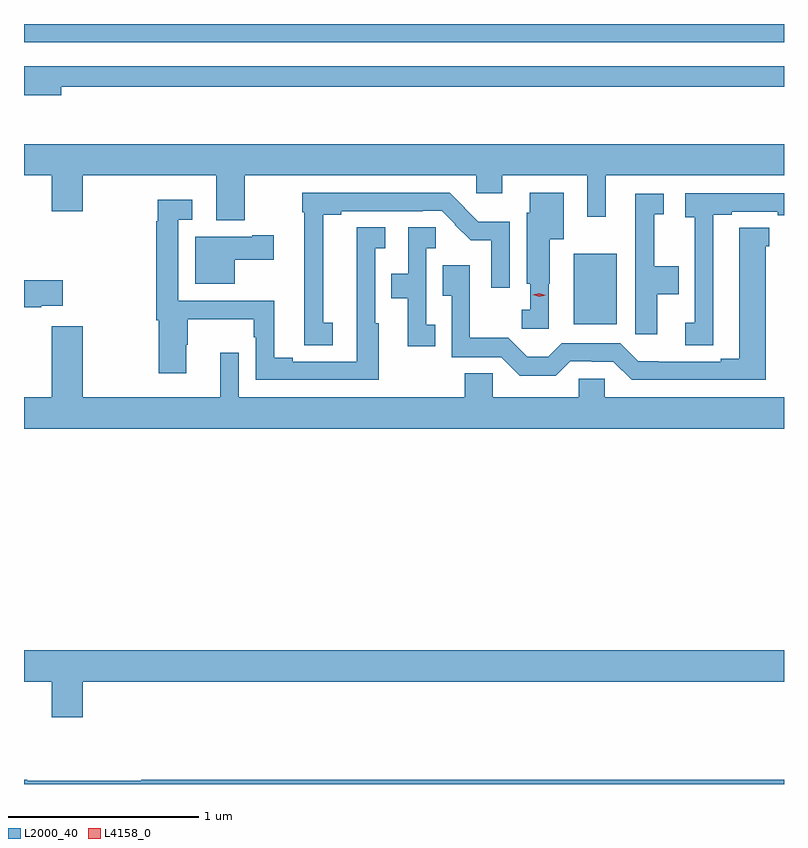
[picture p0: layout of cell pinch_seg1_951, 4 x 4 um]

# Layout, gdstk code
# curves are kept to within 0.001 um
import gdstk
lib = gdstk.Library(unit=1e-6, precision=1e-09)
def R(c, l, rs):  # rectangles x0, y0, x1, y1
    for r in rs: c.add(gdstk.rectangle(r[:2], r[2:], *l))
def P(c, l, *ps):  # polygons
    for p in ps: c.add(gdstk.Polygon(p, *l))
L2000_40 = (2000, 40)
L4158_0 = (4158, 0)

pinch_seg1_951 = lib.new_cell('pinch_seg1_951')
R(pinch_seg1_951, L2000_40, [(335.588,506.993,335.815,507.364), (332.694,508.476,336.694,508.573)])
P(pinch_seg1_951, L2000_40, [(332.89,508.242),(336.694,508.242),(336.694,508.35),(332.694,508.35),(332.694,508.199),(332.89,508.199)],
  [(333.855,507.776),(335.073,507.776),(335.073,507.681),(335.212,507.681),(335.212,507.776),(335.658,507.776),(335.658,507.558),(335.755,507.558),(335.755,507.776),(336.694,507.776),(336.694,507.94),(332.694,507.94),(332.694,507.776),(332.84,507.776),(332.84,507.588),(333.004,507.588),(333.004,507.776),(333.707,507.776),(333.707,507.539),(333.855,507.539)],
  [(335.455,507.207),(335.461,507.207),(335.461,507.44),(335.536,507.44),(335.536,507.685),(335.357,507.685),(335.357,507.579),(335.339,507.579),(335.339,507.207),(335.358,507.207),(335.358,507.07),(335.313,507.07),(335.313,506.97),(335.455,506.97)],
  [(334.318,507),(334.268,507),(334.268,507.568),(334.363,507.568),(334.363,507.588),(334.793,507.588),(334.793,507.591),(334.893,507.591),(334.965,507.519),(334.962,507.516),(335.045,507.434),(335.154,507.434),(335.154,507.186),(335.25,507.186),(335.25,507.532),(335.085,507.532),(335.012,507.605),(335.014,507.607),(334.936,507.684),(334.158,507.684),(334.158,507.581),(334.169,507.581),(334.169,506.881),(334.318,506.881)],
  [(336.321,506.989),(336.322,506.989),(336.322,507.57),(336.418,507.57),(336.418,507.585),(336.662,507.585),(336.662,507.567),(336.694,507.567),(336.694,507.681),(336.174,507.681),(336.174,507.557),(336.225,507.557),(336.225,507),(336.174,507),(336.174,506.881),(336.321,506.881)],
  [(336.028,507.151),(336.14,507.151),(336.14,507.298),(336.011,507.298),(336.011,507.573),(336.061,507.573),(336.061,507.679),(335.912,507.679),(335.912,506.94),(336.028,506.94)],
  [(334.561,506.997),(334.542,506.997),(334.542,507.392),(334.594,507.392),(334.594,507.503),(334.445,507.503),(334.445,507.097),(334.446,507.097),(334.446,506.796),(334.108,506.796),(334.108,506.816),(334.012,506.816),(334.012,507.117),(333.507,507.117),(333.507,507.543),(333.58,507.543),(333.58,507.649),(333.399,507.649),(333.399,507.536),(333.391,507.536),(333.391,507.014),(333.403,507.014),(333.403,506.736),(333.547,506.736),(333.547,506.886),(333.555,506.886),(333.555,507.02),(333.903,507.02),(333.903,506.924),(333.915,506.924),(333.915,506.7),(334.561,506.7)],
  [(334.859,506.99),(334.812,506.99),(334.812,507.392),(334.861,507.392),(334.861,507.503),(334.716,507.503),(334.716,507.259),(334.627,507.259),(334.627,507.13),(334.715,507.13),(334.715,506.877),(334.859,506.877)],
  [(336.598,507.402),(336.616,507.402),(336.616,507.5),(336.459,507.5),(336.458,506.811),(336.362,506.811),(336.362,506.796),(335.927,506.797),(335.832,506.892),(335.523,506.892),(335.452,506.821),(335.342,506.821),(335.242,506.921),(335.04,506.921),(335.04,507.304),(334.897,507.304),(334.897,507.143),(334.944,507.143),(334.944,506.82),(335.205,506.82),(335.302,506.723),(335.492,506.723),(335.568,506.799),(335.681,506.799),(335.681,506.796),(335.796,506.796),(335.892,506.7),(336.598,506.7)],
  [(333.802,507.332),(334.009,507.332),(334.009,507.462),(333.896,507.462),(333.896,507.454),(333.596,507.454),(333.596,507.206),(333.802,507.206)],
  [(332.786,507.089),(332.899,507.089),(332.899,507.224),(332.694,507.224),(332.694,507.082),(332.786,507.082)],
  [(336.694,506.608),(335.751,506.608),(335.751,506.706),(335.613,506.706),(335.613,506.608),(335.16,506.608),(335.16,506.735),(335.014,506.735),(335.014,506.608),(333.825,506.608),(333.825,506.842),(333.728,506.842),(333.728,506.608),(333.004,506.608),(333.004,506.983),(332.84,506.983),(332.84,506.608),(332.694,506.608),(332.694,506.444),(336.694,506.444)],
  [(333.004,505.112),(336.694,505.112),(336.694,505.276),(332.694,505.276),(332.694,505.112),(332.84,505.112),(332.84,504.924),(333.004,504.924)],
  [(336.694,504.596),(333.311,504.596),(333.311,504.589),(332.711,504.589),(332.711,504.596),(332.694,504.596),(332.694,504.573),(336.694,504.573)])
P(pinch_seg1_951, L4158_0, [(335.406,507.138),(335.372,507.149),(335.371,507.149),(335.372,507.149),(335.406,507.157),(335.44,507.146),(335.441,507.146),(335.44,507.146)])

lib.write_gds('pinch_seg1_951.gds')
